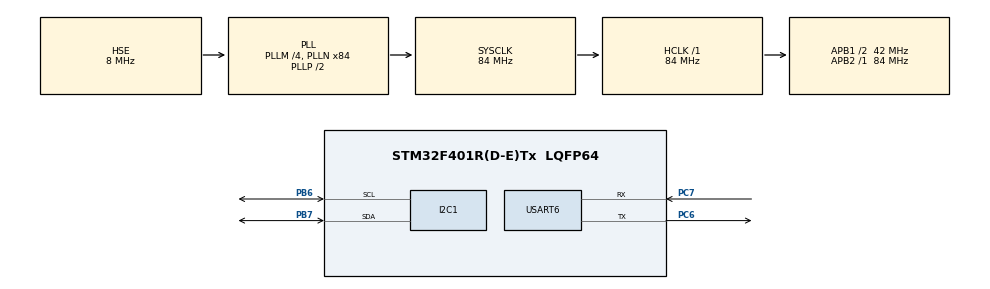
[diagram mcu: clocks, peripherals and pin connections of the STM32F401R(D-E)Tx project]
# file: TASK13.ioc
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Mcu.Family=STM32F4
Mcu.Name=STM32F401R(D-E)Tx
Mcu.Package=LQFP64
NVIC.PriorityGroup=NVIC_PRIORITYGROUP_4
PB6.Mode=I2C
PB6.Signal=I2C1_SCL
PB7.Mode=I2C
PB7.Signal=I2C1_SDA
PC6.Mode=Asynchronous
PC6.Signal=USART6_TX
PC7.Mode=Asynchronous
PC7.Signal=USART6_RX
PH0\ -\ OSC_IN.Mode=HSE-External-Oscillator
PH0\ -\ OSC_IN.Signal=RCC_OSC_IN
PH1\ -\ OSC_OUT.Mode=HSE-External-Oscillator
PH1\ -\ OSC_OUT.Signal=RCC_OSC_OUT
ProjectManager.HeapSize=0x200
ProjectManager.StackSize=0x400
ProjectManager.TargetToolchain=MDK-ARM V5.32
RCC.48MHZClocksFreq_Value=42000000
RCC.AHBFreq_Value=84000000
RCC.APB1CLKDivider=RCC_HCLK_DIV2
RCC.APB1Freq_Value=42000000
RCC.APB1TimFreq_Value=84000000
RCC.APB2Freq_Value=84000000
RCC.APB2TimFreq_Value=84000000
RCC.CortexFreq_Value=84000000
RCC.HCLKFreq_Value=84000000
RCC.HSE_VALUE=8000000
RCC.HSI_VALUE=16000000
RCC.LSE_VALUE=32768
RCC.PLLM=4
RCC.PLLN=84
RCC.PLLSourceVirtual=RCC_PLLSOURCE_HSE
RCC.SYSCLKFreq_VALUE=84000000
RCC.SYSCLKSource=RCC_SYSCLKSOURCE_PLLCLK
RCC.VCOOutputFreq_Value=168000000
USART6.VirtualMode=VM_ASYNC
board=custom

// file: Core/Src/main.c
/* USER CODE BEGIN Header */
/**
  ******************************************************************************
  * @file           : main.c
  * @brief          : Main program body
  ******************************************************************************
  * @attention
  *
  * Copyright (c) 2026 STMicroelectronics.
  * All rights reserved.
  *
  * This software is licensed under terms that can be found in the LICENSE file
  * in the root directory of this software component.
  * If no LICENSE file comes with this software, it is provided AS-IS.
  *
  ******************************************************************************
  */
/* USER CODE END Header */
#include "main.h"
#include "bme280.h"
#include <stdio.h>
#include <stdint.h>

I2C_HandleTypeDef hi2c1;

UART_HandleTypeDef huart6;

/* USER CODE BEGIN PV */

struct bme280_dev dev;
struct bme280_data comp_data;
struct bme280_settings settings;

static uint8_t dev_addr = BME280_I2C_ADDR_PRIM;

int8_t rslt;

double temperature;
double pressure;
double humidity;

char uart_buffer[150];

/* USER CODE END PV */
void SystemClock_Config(void);
static void MX_GPIO_Init(void);
static void MX_I2C1_Init(void);
static void MX_USART6_UART_Init(void);

/* USER CODE BEGIN PFP */

int8_t user_i2c_read(uint8_t reg_addr, uint8_t *reg_data, uint32_t len, void *intf_ptr);
int8_t user_i2c_write(uint8_t reg_addr, const uint8_t *reg_data, uint32_t len, void *intf_ptr);
void user_delay_us(uint32_t period, void *intf_ptr);

/* USER CODE END PFP */

/* USER CODE BEGIN 4 */

int8_t user_i2c_read(uint8_t reg_addr, uint8_t *reg_data, uint32_t len, void *intf_ptr)
{
    uint8_t address = *(uint8_t *)intf_ptr;

    if (HAL_I2C_Mem_Read(&hi2c1, address << 1, reg_addr,
                         I2C_MEMADD_SIZE_8BIT, reg_data, len,
                         HAL_MAX_DELAY) == HAL_OK)
    {
        return BME280_OK;
    }

    return BME280_E_COMM_FAIL;
}

int8_t user_i2c_write(uint8_t reg_addr, const uint8_t *reg_data, uint32_t len, void *intf_ptr)
{
    uint8_t address = *(uint8_t *)intf_ptr;

    if (HAL_I2C_Mem_Write(&hi2c1, address << 1, reg_addr,
                          I2C_MEMADD_SIZE_8BIT, (uint8_t *)reg_data,
                          len, HAL_MAX_DELAY) == HAL_OK)
    {
        return BME280_OK;
    }

    return BME280_E_COMM_FAIL;
}

void user_delay_us(uint32_t period, void *intf_ptr)
{
    HAL_Delay((period + 999) / 1000);
}

/* USER CODE END 4 */

int main(void)
{

  /* MCU Configuration--------------------------------------------------------*/

  /* Reset of all peripherals, Initializes the Flash interface and the Systick. */
  HAL_Init();

  /* Configure the system clock */
  SystemClock_Config();

  /* Initialize all configured peripherals */
  MX_GPIO_Init();
  MX_I2C1_Init();
  MX_USART6_UART_Init();
  /* USER CODE BEGIN 2 */

	dev.intf_ptr = &dev_addr;
	dev.intf = BME280_I2C_INTF;
	dev.read = user_i2c_read;
	dev.write = user_i2c_write;
	dev.delay_us = user_delay_us;

	rslt = bme280_init(&dev);

	if (rslt != BME280_OK)
	{
			HAL_UART_Transmit(&huart6, (uint8_t *)"BME280 INIT FAILED\r\n", 20, HAL_MAX_DELAY);
			Error_Handler();
	}

	HAL_UART_Transmit(&huart6, (uint8_t *)"BME280 INIT SUCCESS\r\n", 21, HAL_MAX_DELAY);

	settings.osr_h = BME280_OVERSAMPLING_1X;
	settings.osr_p = BME280_OVERSAMPLING_1X;
	settings.osr_t = BME280_OVERSAMPLING_1X;
	settings.filter = BME280_FILTER_COEFF_OFF;
	settings.standby_time = BME280_STANDBY_TIME_1000_MS;

	rslt = bme280_set_sensor_settings(
			BME280_SEL_OSR_PRESS |
			BME280_SEL_OSR_TEMP |
			BME280_SEL_OSR_HUM |
			BME280_SEL_FILTER |
			BME280_SEL_STANDBY,
			&settings,
			&dev
	);

	if (rslt != BME280_OK)
	{
			HAL_UART_Transmit(&huart6, (uint8_t *)"SETTINGS FAILED\r\n", 17, HAL_MAX_DELAY);
			Error_Handler();
	}

	rslt = bme280_set_sensor_mode(BME280_POWERMODE_NORMAL, &dev);

	if (rslt != BME280_OK)
	{
			HAL_UART_Transmit(&huart6, (uint8_t *)"MODE SET FAILED\r\n", 17, HAL_MAX_DELAY);
			Error_Handler();
	}

	/* USER CODE END 2 */

  /* Infinite loop */
  /* USER CODE BEGIN WHILE */
  /* USER CODE BEGIN WHILE */
	while (1)
	{
			/* USER CODE END WHILE */

			/* USER CODE BEGIN 3 */

			rslt = bme280_get_sensor_data(BME280_ALL, &comp_data, &dev);

			if (rslt == BME280_OK)
			{
					temperature = comp_data.temperature;
					pressure = comp_data.pressure / 100.0;
					humidity = comp_data.humidity;

					int32_t temp_value = (int32_t)(temperature * 100);
					int32_t pressure_value = (int32_t)(pressure * 100);
					int32_t humidity_value = (int32_t)(humidity * 100);

					char sign = temp_value < 0 ? '-' : '+';

					if (temp_value < 0)
					{
							temp_value = -temp_value;
					}

					int len = snprintf(uart_buffer, sizeof(uart_buffer),
														"Temperature: %c%ld.%02ld C | Pressure: %ld.%02ld hPa | Humidity: %ld.%02ld %%\r\n",
														sign,
														(long)(temp_value / 100),
														(long)(temp_value % 100),
														(long)(pressure_value / 100),
														(long)(pressure_value % 100),
														(long)(humidity_value / 100),
														(long)(humidity_value % 100));

					HAL_UART_Transmit(&huart6, (uint8_t *)uart_buffer, len, HAL_MAX_DELAY);
			}
			else
			{
					HAL_UART_Transmit(&huart6, (uint8_t *)"SENSOR READ FAILED\r\n", 20, HAL_MAX_DELAY);
			}

			HAL_Delay(1000);

			/* USER CODE END 3 */
	}
  /* USER CODE END 3 */
}

void SystemClock_Config(void)
{
  RCC_OscInitTypeDef RCC_OscInitStruct = {0};
  RCC_ClkInitTypeDef RCC_ClkInitStruct = {0};

  /** Configure the main internal regulator output voltage
  */
  __HAL_RCC_PWR_CLK_ENABLE();
  __HAL_PWR_VOLTAGESCALING_CONFIG(PWR_REGULATOR_VOLTAGE_SCALE2);

  /** Initializes the RCC Oscillators according to the specified parameters
  * in the RCC_OscInitTypeDef structure.
  */
  RCC_OscInitStruct.OscillatorType = RCC_OSCILLATORTYPE_HSE;
  RCC_OscInitStruct.HSEState = RCC_HSE_BYPASS;
  RCC_OscInitStruct.PLL.PLLState = RCC_PLL_ON;
  RCC_OscInitStruct.PLL.PLLSource = RCC_PLLSOURCE_HSE;
  RCC_OscInitStruct.PLL.PLLM = 4;
  RCC_OscInitStruct.PLL.PLLN = 84;
  RCC_OscInitStruct.PLL.PLLP = RCC_PLLP_DIV2;
  RCC_OscInitStruct.PLL.PLLQ = 4;
  if (HAL_RCC_OscConfig(&RCC_OscInitStruct) != HAL_OK)
  {
    Error_Handler();
  }

  /** Initializes the CPU, AHB and APB buses clocks
  */
  RCC_ClkInitStruct.ClockType = RCC_CLOCKTYPE_HCLK|RCC_CLOCKTYPE_SYSCLK
                              |RCC_CLOCKTYPE_PCLK1|RCC_CLOCKTYPE_PCLK2;
  RCC_ClkInitStruct.SYSCLKSource = RCC_SYSCLKSOURCE_PLLCLK;
  RCC_ClkInitStruct.AHBCLKDivider = RCC_SYSCLK_DIV1;
  RCC_ClkInitStruct.APB1CLKDivider = RCC_HCLK_DIV2;
  RCC_ClkInitStruct.APB2CLKDivider = RCC_HCLK_DIV1;

  if (HAL_RCC_ClockConfig(&RCC_ClkInitStruct, FLASH_LATENCY_2) != HAL_OK)
  {
    Error_Handler();
  }
}

static void MX_I2C1_Init(void)
{

  hi2c1.Instance = I2C1;
  hi2c1.Init.ClockSpeed = 100000;
  hi2c1.Init.DutyCycle = I2C_DUTYCYCLE_2;
  hi2c1.Init.OwnAddress1 = 0;
  hi2c1.Init.AddressingMode = I2C_ADDRESSINGMODE_7BIT;
  hi2c1.Init.DualAddressMode = I2C_DUALADDRESS_DISABLE;
  hi2c1.Init.OwnAddress2 = 0;
  hi2c1.Init.GeneralCallMode = I2C_GENERALCALL_DISABLE;
  hi2c1.Init.NoStretchMode = I2C_NOSTRETCH_DISABLE;
  if (HAL_I2C_Init(&hi2c1) != HAL_OK)
  {
    Error_Handler();
  }

}

static void MX_USART6_UART_Init(void)
{

  huart6.Instance = USART6;
  huart6.Init.BaudRate = 115200;
  huart6.Init.WordLength = UART_WORDLENGTH_8B;
  huart6.Init.StopBits = UART_STOPBITS_1;
  huart6.Init.Parity = UART_PARITY_NONE;
  huart6.Init.Mode = UART_MODE_TX_RX;
  huart6.Init.HwFlowCtl = UART_HWCONTROL_NONE;
  huart6.Init.OverSampling = UART_OVERSAMPLING_16;
  if (HAL_UART_Init(&huart6) != HAL_OK)
  {
    Error_Handler();
  }

}

static void MX_GPIO_Init(void)
{

  /* GPIO Ports Clock Enable */
  __HAL_RCC_GPIOH_CLK_ENABLE();
  __HAL_RCC_GPIOC_CLK_ENABLE();
  __HAL_RCC_GPIOB_CLK_ENABLE();

}

void Error_Handler(void)
{
  __disable_irq();
  while (1)
  {
  }
}
